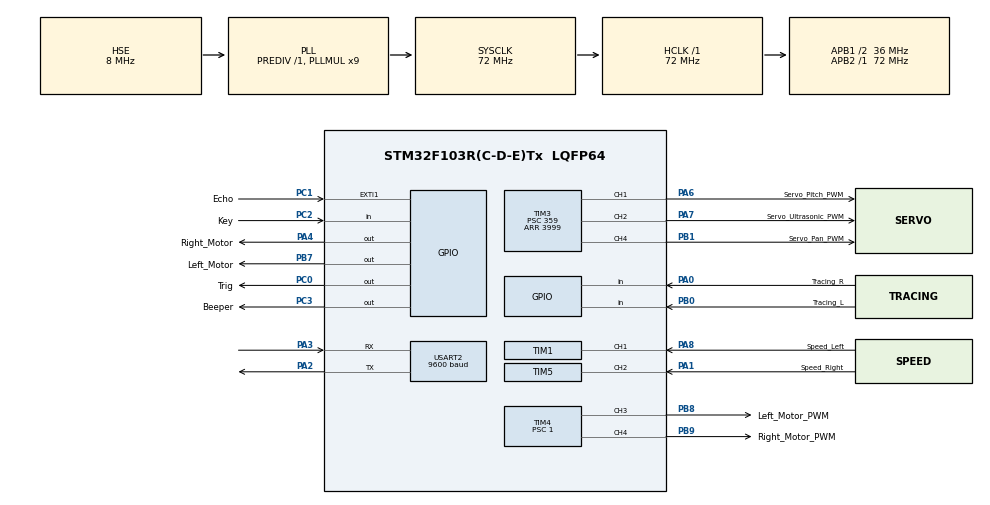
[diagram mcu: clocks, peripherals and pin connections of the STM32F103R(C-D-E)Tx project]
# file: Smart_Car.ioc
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Dma.Request0=USART2_RX
Dma.USART2_RX.0.Direction=DMA_PERIPH_TO_MEMORY
Dma.USART2_RX.0.Instance=DMA1_Channel6
Dma.USART2_RX.0.MemDataAlignment=DMA_MDATAALIGN_BYTE
Dma.USART2_RX.0.MemInc=DMA_MINC_ENABLE
Dma.USART2_RX.0.Mode=DMA_CIRCULAR
Dma.USART2_RX.0.PeriphDataAlignment=DMA_PDATAALIGN_BYTE
Dma.USART2_RX.0.PeriphInc=DMA_PINC_DISABLE
Dma.USART2_RX.0.Priority=DMA_PRIORITY_LOW
Mcu.Family=STM32F1
Mcu.Name=STM32F103R(C-D-E)Tx
Mcu.Package=LQFP64
NVIC.DMA1_Channel6_IRQn=true\:0\:0\:false\:true\:true\:1\:false\:true
NVIC.EXTI1_IRQn=true\:1\:2\:true\:false\:true\:true\:true
NVIC.PriorityGroup=NVIC_PRIORITYGROUP_2
NVIC.TIM8_UP_IRQn=true\:1\:1\:true\:false\:true\:true\:true
NVIC.USART2_IRQn=true\:2\:3\:true\:true\:true\:2\:true\:true
PA0-WKUP.GPIO_Label=Tracing_R
PA0-WKUP.GPIO_PuPd=GPIO_PULLUP
PA0-WKUP.Signal=GPIO_Input
PA1.GPIO_Label=Speed_Right
PA1.GPIO_PuPd=GPIO_PULLUP
PA1.Signal=S_TIM5_CH2
PA13.Mode=Serial_Wire
PA13.Signal=SYS_JTMS-SWDIO
PA14.Mode=Serial_Wire
PA14.Signal=SYS_JTCK-SWCLK
PA2.Mode=Asynchronous
PA2.Signal=USART2_TX
PA3.GPIO_PuPd=GPIO_NOPULL
PA3.Mode=Asynchronous
PA3.Signal=USART2_RX
PA4.GPIO_Label=Right_Motor
PA4.Signal=GPIO_Output
PA6.GPIO_Label=Servo_Pitch_PWM
PA6.Signal=S_TIM3_CH1
PA7.GPIO_Label=Servo_Ultrasonic_PWM
PA7.Signal=S_TIM3_CH2
PA8.GPIO_Label=Speed_Left
PA8.GPIO_PuPd=GPIO_PULLUP
PA8.Signal=S_TIM1_CH1
PB0.GPIO_Label=Tracing_L
PB0.GPIO_PuPd=GPIO_PULLUP
PB0.Signal=GPIO_Input
PB1.GPIO_Label=Servo_Pan_PWM
PB1.Signal=S_TIM3_CH4
PB7.GPIO_Label=Left_Motor
PB7.Signal=GPIO_Output
PB8.GPIO_Label=Left_Motor_PWM
PB8.Signal=S_TIM4_CH3
PB9.GPIO_Label=Right_Motor_PWM
PB9.Signal=S_TIM4_CH4
PC0.GPIO_Label=Trig
PC0.Signal=GPIO_Output
PC1.GPIO_Label=Echo
PC1.GPIO_ModeDefaultEXTI=GPIO_MODE_IT_RISING
PC1.GPIO_PuPd=GPIO_PULLDOWN
PC1.Signal=GPXTI1
PC2.GPIO_Label=Key
PC2.GPIO_PuPd=GPIO_PULLUP
PC2.Signal=GPIO_Input
PC3.GPIO_Label=Beeper
PC3.Signal=GPIO_Output
PD0-OSC_IN.Mode=HSE-External-Oscillator
PD0-OSC_IN.Signal=RCC_OSC_IN
PD1-OSC_OUT.Mode=HSE-External-Oscillator
PD1-OSC_OUT.Signal=RCC_OSC_OUT
ProjectManager.HeapSize=0x200
ProjectManager.StackSize=0x400
ProjectManager.TargetToolchain=MDK-ARM V5.27
RCC.AHBFreq_Value=72000000
RCC.APB1CLKDivider=RCC_HCLK_DIV2
RCC.APB1Freq_Value=36000000
RCC.APB1TimFreq_Value=72000000
RCC.APB2Freq_Value=72000000
RCC.APB2TimFreq_Value=72000000
RCC.HCLKFreq_Value=72000000
RCC.PLLMUL=RCC_PLL_MUL9
RCC.PLLSourceVirtual=RCC_PLLSOURCE_HSE
RCC.SYSCLKFreq_VALUE=72000000
RCC.SYSCLKSource=RCC_SYSCLKSOURCE_PLLCLK
RCC.USBFreq_Value=72000000
SH.S_TIM1_CH1.0=TIM1_CH1,TriggerSource_TI1FP1
SH.S_TIM3_CH1.0=TIM3_CH1,PWM Generation1 CH1
SH.S_TIM3_CH2.0=TIM3_CH2,PWM Generation2 CH2
SH.S_TIM3_CH4.0=TIM3_CH4,PWM Generation4 CH4
SH.S_TIM4_CH3.0=TIM4_CH3,PWM Generation3 CH3
SH.S_TIM4_CH4.0=TIM4_CH4,PWM Generation4 CH4
SH.S_TIM5_CH2.0=TIM5_CH2,TriggerSource_TI2FP2
TIM1.Period=0xffff
TIM2.Period=65535
TIM2.Prescaler=71
TIM3.Channel-PWM\ Generation1\ CH1=TIM_CHANNEL_1
TIM3.Channel-PWM\ Generation2\ CH2=TIM_CHANNEL_2
TIM3.Channel-PWM\ Generation4\ CH4=TIM_CHANNEL_4
TIM3.Period=3999
TIM3.Prescaler=359
TIM4.AutoReloadPreload=TIM_AUTORELOAD_PRELOAD_ENABLE
TIM4.Channel-PWM\ Generation3\ CH3=TIM_CHANNEL_3
TIM4.Channel-PWM\ Generation4\ CH4=TIM_CHANNEL_4
TIM4.OCMode_PWM-PWM\ Generation3\ CH3=TIM_OCMODE_PWM2
TIM4.OCMode_PWM-PWM\ Generation4\ CH4=TIM_OCMODE_PWM2
TIM4.Period=3599
TIM4.Prescaler=1
TIM5.Period=0xffff
TIM8.AutoReloadPreload=TIM_AUTORELOAD_PRELOAD_ENABLE
TIM8.Period=9999
TIM8.Prescaler=7199
USART2.BaudRate=9600
USART2.VirtualMode=VM_ASYNC
VP_TIM1_VS_ControllerModeClock.Mode=Clock Mode
VP_TIM2_VS_ClockSourceINT.Mode=Internal
VP_TIM5_VS_ControllerModeClock.Mode=Clock Mode
VP_TIM8_VS_ClockSourceINT.Mode=Internal
board=custom

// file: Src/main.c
/* USER CODE BEGIN Header */
/**
  ******************************************************************************
  * @file           : main.c
  * @brief          : Main program body
  ******************************************************************************
  * @attention
  *
  * <h2><center>&copy; Copyright (c) 2023 STMicroelectronics.
  * All rights reserved.</center></h2>
  *
  * This software component is licensed by ST under BSD 3-Clause license,
  * the "License"; You may not use this file except in compliance with the
  * License. You may obtain a copy of the License at:
  *                        opensource.org/licenses/BSD-3-Clause
  *
  ******************************************************************************
  */
/* USER CODE END Header */

#include "main.h"
#include "dma.h"
#include "tim.h"
#include "usart.h"
#include "gpio.h"

/* USER CODE BEGIN Includes */
#include "motor.h"
#include "key.h"
#include "beeper.h"
#include "IR_Tracing.h"
#include "servo.h"
#include "UltrasonicWave.h"
#include "stdio.h"
#include "WIFI_Command.h"

/* USER CODE END Includes */

/* USER CODE BEGIN PV */
extern float UltrasonicWave_Distance;
extern int pan_angle;
extern int pitch_angle;
extern uint8_t USART2_RX_BUFF; 																	//接收缓存
extern uint8_t USART2_RX[USART2_MAX_RECV_LEN];									//接收储存
extern uint16_t USART2_RX_STA;																//接收数据计数
/* USER CODE END PV */

void SystemClock_Config(void);
static void MX_NVIC_Init(void);

int main(void)
{

  /* MCU Configuration--------------------------------------------------------*/

  /* Reset of all peripherals, Initializes the Flash interface and the Systick. */
  HAL_Init();

  /* Configure the system clock */
  SystemClock_Config();

  /* Initialize all configured peripherals */
  MX_GPIO_Init();
  MX_DMA_Init();
  MX_TIM4_Init();
  MX_TIM3_Init();
  MX_USART2_UART_Init();
  MX_TIM2_Init();
  MX_TIM1_Init();
  MX_TIM5_Init();
  MX_TIM8_Init();

  /* Initialize interrupts */
  MX_NVIC_Init();
  /* USER CODE BEGIN 2 */
	//开启中断
	__HAL_UART_ENABLE_IT(&huart2,UART_IT_IDLE);//使能IDLE中断
	HAL_UARTEx_ReceiveToIdle_DMA(&huart2,USART2_RX,1);//开启DMA接收

	//HAL_UART_Receive_IT(&huart2,(uint8_t *)&USART2_RX_BUFF, 1);//开启接收中断
	HAL_TIM_Base_Start_IT(&htim8);//开启测速中断

	//开启输入捕获
	HAL_TIM_IC_Start(&htim1,TIM_CHANNEL_1);
	HAL_TIM_IC_Start(&htim5,TIM_CHANNEL_2);
  /* USER CODE END 2 */

  /* Infinite loop */
  /* USER CODE BEGIN WHILE */
	brake(50);
	Motor_PWM_Start();
	keyscan();
	Servo_PWM_Start();
	//SetJointAngle(Servo_Ultrasonic,93);
	SetJointAngle(Servo_Pan,pan_angle);
	SetJointAngle(Servo_Pitch,pitch_angle);

	printf("Hello\n");
  while (1)
  {
		UltrasonicWave_StartMeasure();
    /* USER CODE END WHILE */

    /* USER CODE BEGIN 3 */

		//printf("%f\n",UltrasonicWave_Distance);
		//HAL_Delay(500);

		//command_run(TracingRun(),50);

//		command_run(COMM_FORWARD,50);
//		HAL_Delay(300);
//		command_run(COMM_BRAKE,50);
//		HAL_Delay(300);
		command_run(receive_command(),50);
	}
  /* USER CODE END 3 */
}

void SystemClock_Config(void)
{
  RCC_OscInitTypeDef RCC_OscInitStruct = {0};
  RCC_ClkInitTypeDef RCC_ClkInitStruct = {0};

  /** Initializes the CPU, AHB and APB busses clocks
  */
  RCC_OscInitStruct.OscillatorType = RCC_OSCILLATORTYPE_HSE;
  RCC_OscInitStruct.HSEState = RCC_HSE_ON;
  RCC_OscInitStruct.HSEPredivValue = RCC_HSE_PREDIV_DIV1;
  RCC_OscInitStruct.HSIState = RCC_HSI_ON;
  RCC_OscInitStruct.PLL.PLLState = RCC_PLL_ON;
  RCC_OscInitStruct.PLL.PLLSource = RCC_PLLSOURCE_HSE;
  RCC_OscInitStruct.PLL.PLLMUL = RCC_PLL_MUL9;
  if (HAL_RCC_OscConfig(&RCC_OscInitStruct) != HAL_OK)
  {
    Error_Handler();
  }
  /** Initializes the CPU, AHB and APB busses clocks
  */
  RCC_ClkInitStruct.ClockType = RCC_CLOCKTYPE_HCLK|RCC_CLOCKTYPE_SYSCLK
                              |RCC_CLOCKTYPE_PCLK1|RCC_CLOCKTYPE_PCLK2;
  RCC_ClkInitStruct.SYSCLKSource = RCC_SYSCLKSOURCE_PLLCLK;
  RCC_ClkInitStruct.AHBCLKDivider = RCC_SYSCLK_DIV1;
  RCC_ClkInitStruct.APB1CLKDivider = RCC_HCLK_DIV2;
  RCC_ClkInitStruct.APB2CLKDivider = RCC_HCLK_DIV1;

  if (HAL_RCC_ClockConfig(&RCC_ClkInitStruct, FLASH_LATENCY_2) != HAL_OK)
  {
    Error_Handler();
  }
}

/**
  * @brief NVIC Configuration.
  * @retval None
  */
static void MX_NVIC_Init(void)
{
  /* DMA1_Channel6_IRQn interrupt configuration */
  HAL_NVIC_SetPriority(DMA1_Channel6_IRQn, 0, 0);
  HAL_NVIC_EnableIRQ(DMA1_Channel6_IRQn);
  /* USART2_IRQn interrupt configuration */
  HAL_NVIC_SetPriority(USART2_IRQn, 2, 3);
  HAL_NVIC_EnableIRQ(USART2_IRQn);
}

/* USER CODE BEGIN 4 */

//GPIO中断服务程序，用于处理超声波避障
void HAL_GPIO_EXTI_Callback(uint16_t GPIO_Pin)
{
	//传感器接收到回声后Ecoh输出高电平，高电平的持续时间就是从发出到接收的总时间
  if(GPIO_Pin==Echo_Pin)
	{
			__HAL_TIM_SET_COUNTER(&htim2,0);
			HAL_TIM_Base_Start(&htim2);//开启时钟
			while(HAL_GPIO_ReadPin(Echo_GPIO_Port,Echo_Pin));//等待低电平
			HAL_TIM_Base_Stop(&htim2);//关闭时钟
		//每一次计数为1us
			UltrasonicWave_Distance=(float)__HAL_TIM_GET_COUNTER(&htim2)*17/1000.0;//计算距离，单位为cm
	}
	//printf("distance: %.2f/n",UltrasonicWave_Distance);
	if (UltrasonicWave_Distance<=8.0)
	{
		Error_Handler_Distance();
	}
}

//定时计数器8溢出中断服务程序
void HAL_TIM_PeriodElapsedCallback(TIM_HandleTypeDef *htim)
{
	int count_left = 0;
	int count_right = 0;

    if(htim==&htim8)
    {
        count_left = __HAL_TIM_GET_COUNTER(&htim1)*4;
			  count_right = __HAL_TIM_GET_COUNTER(&htim5)*4;
				__HAL_TIM_SET_COUNTER(&htim8, 0);
				__HAL_TIM_SET_COUNTER(&htim1, 0);
				__HAL_TIM_SET_COUNTER(&htim5, 0);
			printf("left: %d, right: %d\n",count_left,count_right);
    }
}

void Error_Handler_Distance(void)
{
		BEEPER_SET;
		brake(500);
		BEEPER_RESET;
}

/* USER CODE END 4 */

void Error_Handler(void)
{
  /* USER CODE BEGIN Error_Handler_Debug */
  /* User can add his own implementation to report the HAL error return state */
	int i=0;
	while(i<10)
	{
		BEEPER_SET;
		brake(50);
		BEEPER_RESET;
		brake(50);
		i++;
	}

  /* USER CODE END Error_Handler_Debug */
}

/************************ (C) COPYRIGHT STMicroelectronics *****END OF FILE****/
